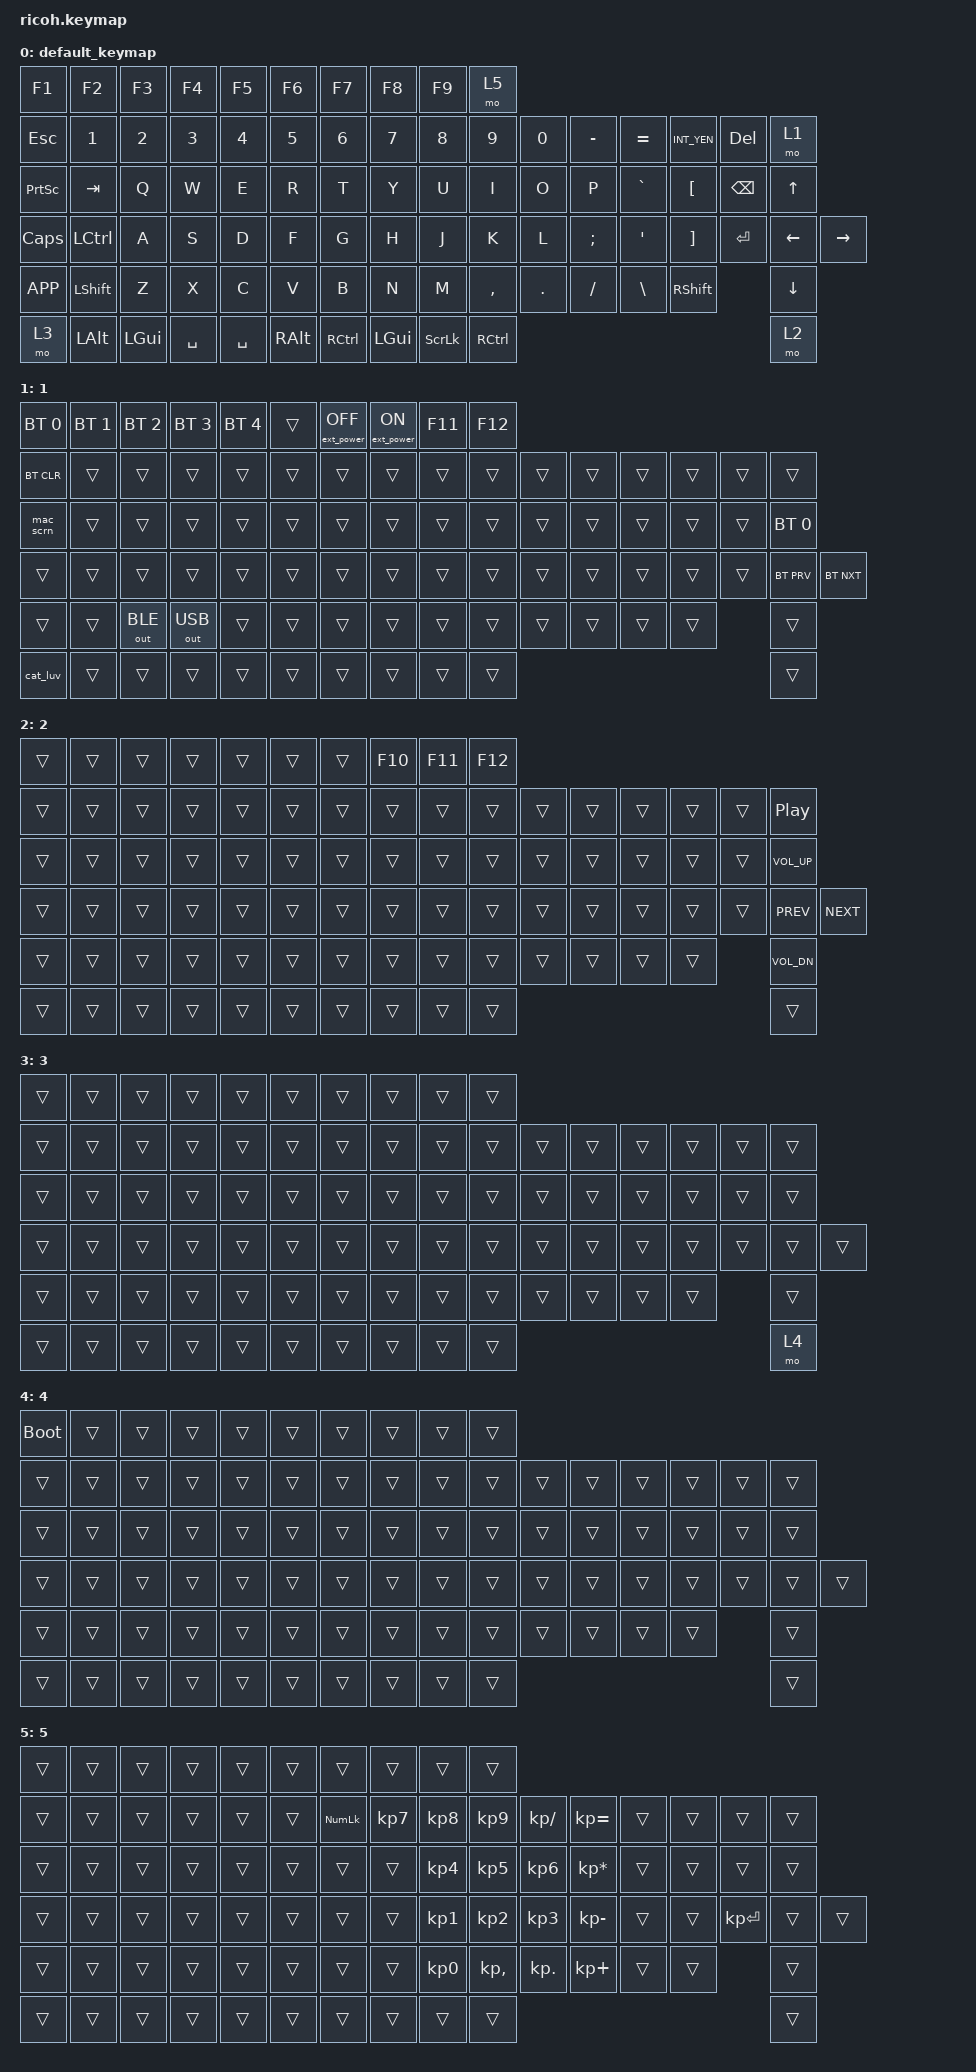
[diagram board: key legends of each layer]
#include <behaviors.dtsi>
#include <dt-bindings/zmk/keys.h>
#include <dt-bindings/zmk/bt.h>
#include <dt-bindings/zmk/outputs.h>
#include <dt-bindings/zmk/ext_power.h>

/ {
    macros {
        cat_luv: cat_luv {
            label = "DISCORD_cat_luv";
            compatible = "zmk,behavior-macro";
            #binding-cells = <0>;
            wait-ms = <5>;
            bindings
                = <&macro_tap &kp COLON &kp C &kp A &kp T &kp UNDER &kp L &kp U &kp V &kp COLON>
                ;
        };
        mac_scrn: mac_scrn {
            label = "MAC_mac_scrn";
            compatible = "zmk,behavior-macro";
            #binding-cells = <0>;
            wait-ms = <5>;
            bindings
                = <&macro_press &kp LSHFT &kp LGUI>
                , <&macro_tap &kp N4>
                , <&macro_release &kp LSHFT &kp LGUI>
                ;
        };
    };

    keymap {
        compatible = "zmk,keymap";

        default_keymap {
            bindings = <
                        &kp F1      &kp F2      &kp F3      &kp F4      &kp F5      &kp F6      &kp F7      &kp F8      &kp F9      &mo 5
                        &kp ESC     &kp N1      &kp N2      &kp N3      &kp N4      &kp N5      &kp N6      &kp N7      &kp N8      &kp N9      &kp N0      &kp MINUS   &kp EQUAL   &kp INT_YEN &kp DEL             &mo 1
                        &kp PSCRN   &kp TAB     &kp Q       &kp W       &kp E       &kp R       &kp T       &kp Y       &kp U       &kp I       &kp O       &kp P       &kp GRAVE   &kp LBKT    &kp BSPC            &kp UP
                        &kp CAPS    &kp LCTRL   &kp A       &kp S       &kp D       &kp F       &kp G       &kp H       &kp J       &kp K       &kp L       &kp SEMI    &kp APOS    &kp RBKT    &kp ENTER      &kp LEFT    &kp RIGHT
                        &kp K_APP   &kp LSHFT   &kp Z       &kp X       &kp C       &kp V       &kp B       &kp N       &kp M       &kp COMMA   &kp DOT     &kp FSLH    &kp BSLH    &kp RSHFT                       &kp DOWN
                        &mo 3       &kp LALT    &kp LGUI    &kp SPACE   &kp SPACE   &kp RALT    &kp RCTRL   &kp LGUI    &kp SLCK    &kp RCTRL                                                                       &mo 2
            >;
        };
        1 {
            bindings = <
                        &bt BT_SEL 0      &bt BT_SEL 1      &bt BT_SEL 2      &bt BT_SEL 3      &bt BT_SEL 4      &trans      &ext_power EP_OFF      &ext_power EP_ON      &kp F11      &kp F12
                        &bt BT_CLR  &trans      &trans      &trans      &trans      &trans      &trans      &trans      &trans      &trans      &trans      &trans      &trans      &trans      &trans              &trans
                        &mac_scrn   &trans      &trans      &trans      &trans      &trans      &trans      &trans      &trans      &trans      &trans      &trans      &trans      &trans      &trans              &bt BT_SEL 0
                        &trans      &trans      &trans      &trans      &trans      &trans      &trans      &trans      &trans      &trans      &trans      &trans      &trans      &trans      &trans          &bt BT_PRV   &bt BT_NXT
                        &trans      &trans      &out OUT_BLE      &out OUT_USB      &trans      &trans      &trans      &trans      &trans      &trans      &trans      &trans      &trans      &trans                          &trans
                        &cat_luv    &trans      &trans      &trans      &trans      &trans      &trans      &trans      &trans      &trans                                                                          &trans
            >;
        };
        2 {
            bindings = <
                        &trans      &trans      &trans      &trans      &trans      &trans      &trans      &kp F10     &kp F11     &kp F12
                        &trans      &trans      &trans      &trans      &trans      &trans      &trans      &trans      &trans      &trans      &trans      &trans      &trans      &trans      &trans              &kp C_PP
                        &trans      &trans      &trans      &trans      &trans      &trans      &trans      &trans      &trans      &trans      &trans      &trans      &trans      &trans      &trans              &kp C_VOL_UP
                        &trans      &trans      &trans      &trans      &trans      &trans      &trans      &trans      &trans      &trans      &trans      &trans      &trans      &trans      &trans         &kp C_PREV       &kp C_NEXT
                        &trans      &trans      &trans      &trans      &trans      &trans      &trans      &trans      &trans      &trans      &trans      &trans      &trans      &trans                          &kp C_VOL_DN
                        &trans      &trans      &trans      &trans      &trans      &trans      &trans      &trans      &trans      &trans                                                                          &trans
            >;
        };
        3 {
            bindings = <
                        &trans      &trans      &trans      &trans      &trans      &trans      &trans      &trans      &trans      &trans
                        &trans      &trans      &trans      &trans      &trans      &trans      &trans      &trans      &trans      &trans      &trans      &trans      &trans      &trans      &trans              &trans
                        &trans      &trans      &trans      &trans      &trans      &trans      &trans      &trans      &trans      &trans      &trans      &trans      &trans      &trans      &trans              &trans
                        &trans      &trans      &trans      &trans      &trans      &trans      &trans      &trans      &trans      &trans      &trans      &trans      &trans      &trans      &trans         &trans       &trans
                        &trans      &trans      &trans      &trans      &trans      &trans      &trans      &trans      &trans      &trans      &trans      &trans      &trans      &trans                          &trans
                        &trans      &trans      &trans      &trans      &trans      &trans      &trans      &trans      &trans      &trans                                                                          &mo 4
            >;
        };
        4 {
            bindings = <
                        &bootloader      &trans      &trans      &trans      &trans      &trans      &trans      &trans      &trans      &trans
                        &trans      &trans      &trans      &trans      &trans      &trans      &trans      &trans      &trans      &trans      &trans      &trans      &trans      &trans      &trans              &trans
                        &trans      &trans      &trans      &trans      &trans      &trans      &trans      &trans      &trans      &trans      &trans      &trans      &trans      &trans      &trans              &trans
                        &trans      &trans      &trans      &trans      &trans      &trans      &trans      &trans      &trans      &trans      &trans      &trans      &trans      &trans      &trans         &trans       &trans
                        &trans      &trans      &trans      &trans      &trans      &trans      &trans      &trans      &trans      &trans      &trans      &trans      &trans      &trans                          &trans
                        &trans      &trans      &trans      &trans      &trans      &trans      &trans      &trans      &trans      &trans                                                                          &trans
            >;
        };
        5 {
            bindings = <
                        &trans      &trans      &trans      &trans      &trans      &trans      &trans      &trans      &trans      &trans
                        &trans      &trans      &trans      &trans      &trans      &trans      &kp KP_NLCK &kp KP_N7  &kp KP_N8   &kp KP_N9   &kp KP_SLASH &kp KP_EQUAL  &trans    &trans      &trans              &trans
                        &trans      &trans      &trans      &trans      &trans      &trans      &trans      &trans      &kp KP_N4   &kp KP_N5   &kp KP_N6   &kp KP_ASTERISK &trans  &trans      &trans              &trans
                        &trans      &trans      &trans      &trans      &trans      &trans      &trans      &trans      &kp KP_N1   &kp KP_N2   &kp KP_N3   &kp KP_MINUS &trans     &trans      &kp KP_ENTER  &trans       &trans
                        &trans      &trans      &trans      &trans      &trans      &trans      &trans      &trans      &kp KP_N0   &kp KP_COMMA &kp KP_DOT &kp KP_PLUS  &trans     &trans                          &trans
                        &trans      &trans      &trans      &trans      &trans      &trans      &trans      &trans      &trans      &trans                                                                          &trans
            >;
        };
    };
};
